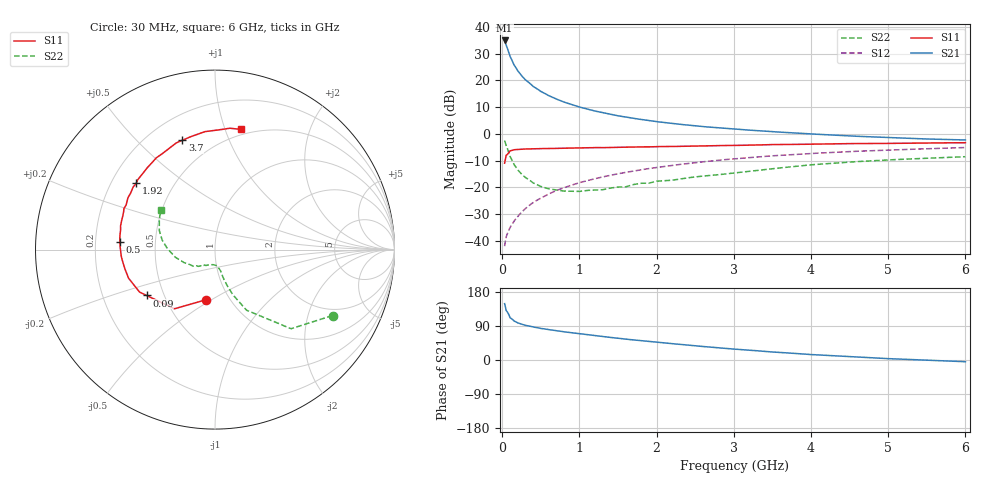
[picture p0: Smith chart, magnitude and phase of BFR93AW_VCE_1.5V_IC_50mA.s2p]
! Infineon Technologies  Discrete & RF Semiconductors
! BFR93AW
! VCE =  1.5 V,  IC =  50 mA
! Common Emitter S-Parameters:  Nov 2015
# GHz  S  MA  R  50
!  f  S11  S21  S12  S22
! GHz  MAG  ANG  MAG  ANG  MAG  ANG  MAG  ANG
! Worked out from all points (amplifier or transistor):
!   206 points, 30 MHz to 6 GHz, reference 50 ohm
!   highest |S21| = 34.9 dB at 30 MHz (marker M1)
!   |S21| within 3 dB of that: start of sweep to 66.91 MHz
!   unconditionally stable (mu >= 1): 268.3 MHz to 2.635 GHz
!   at 200 MHz: K = 0.95, MSG = 27.2 dB, |S12| = -30.8 dB
!   at 1.56 GHz: K = 1.06, MAG = 9.1 dB, |S12| = -14.6 dB
!   at 6 GHz: K = 0.97, MSG = 1.4 dB, |S12| = -5.1 dB
!   S11 on the Smith chart (normalised r, x): 30 MHz: 0.78, -0.47; 90 MHz: 0.40, -0.26; 500 MHz: 0.31, +0.04; 1.92 GHz: 0.30, +0.34; 3.7 GHz: 0.34, +0.69; 6 GHz: 0.45, +1.14
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0.03  0.2847 -100.5  55.83 148.7  0.008 67.0  0.7514 -29.3
0.05  0.3996 -124.4  45.9 130.7  0.0119 63.8  0.6118 -46.1
0.09  0.4589 -146.2  31.43 117.2  0.0165 65.3  0.4234 -57.8
0.1  0.4823 -150.6  28.26 111.7  0.0177 65.5  0.3808 -62.5
0.15  0.5072 -161.7  19.76 103.2  0.0232 65.8  0.2712 -68.4
0.2  0.5133 -167.9  15.16 97.9  0.0287 69.7  0.2135 -71.2
0.24  0.5174 -171.7  12.8 95.2  0.0333 70.9  0.1832 -72.8
0.3  0.5235 -175.8  10.25 91.4  0.0404 71.9  0.1536 -74.1
0.4  0.5281 179.2  7.73 87.0  0.0523 73.7  0.1217 -75.4
0.5  0.532 175.2  6.227 83.3  0.0633 74.3  0.1043 -79.1
0.6  0.5356 172.0  5.212 80.2  0.0752 74.2  0.0945 -81.2
0.7  0.5363 168.7  4.494 77.2  0.0875 73.9  0.0897 -84.9
0.84  0.5433 164.8  3.771 73.4  0.1037 73.2  0.0854 -92.5
1.04  0.5475 159.4  3.074 68.3  0.1273 71.6  0.0857 -101.1
1.4  0.5591 151.1  2.33 59.6  0.1685 68.5  0.0974 -117.2
1.92  0.5743 139.8  1.762 48.4  0.2278 63.2  0.1224 -132.2
2.02  0.5803 137.7  1.685 46.4  0.2384 62.0  0.1315 -134.7
3.1  0.6134 116.8  1.206 27.4  0.3514 49.8  0.1931 -159.7
3.7  0.6356 106.7  1.06 18.6  0.4063 42.6  0.2396 -174.4
4.1  0.6462 100.5  0.983 13.3  0.4388 37.9  0.2715 176.8
5.1  0.6684 87.6  0.846 2.8  0.5058 26.9  0.3321 159.1
6  0.6853 77.6  0.772 -4.5  0.5572 17.8  0.3757 143.7
